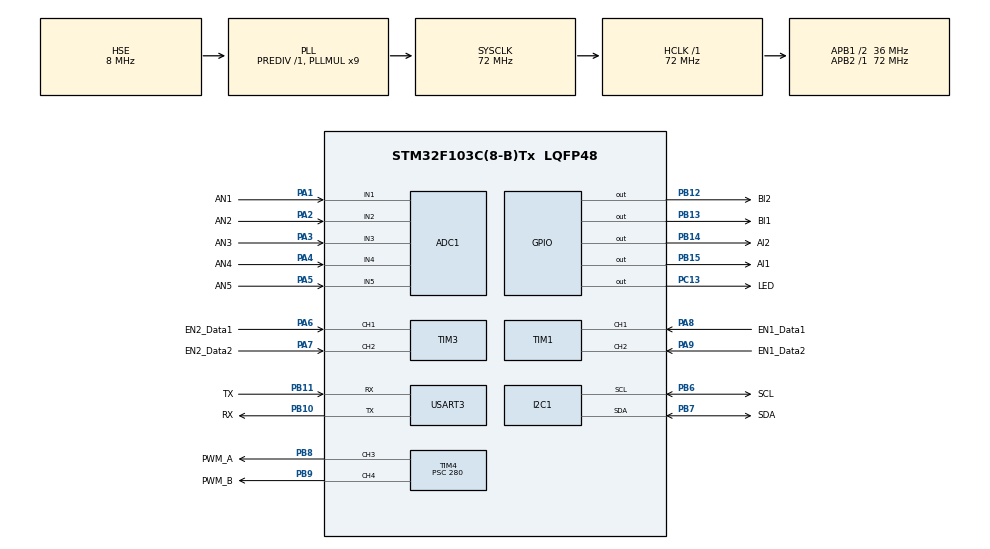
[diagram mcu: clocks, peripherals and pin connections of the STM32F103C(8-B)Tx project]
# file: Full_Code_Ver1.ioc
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ADC1.Channel-0\#ChannelRegularConversion=ADC_CHANNEL_1
ADC1.Channel-1\#ChannelRegularConversion=ADC_CHANNEL_2
ADC1.Channel-2\#ChannelRegularConversion=ADC_CHANNEL_3
ADC1.Channel-3\#ChannelRegularConversion=ADC_CHANNEL_4
ADC1.Channel-4\#ChannelRegularConversion=ADC_CHANNEL_5
ADC1.ContinuousConvMode=ENABLE
ADC1.NbrOfConversion=5
ADC1.NbrOfConversionFlag=1
ADC1.Rank-0\#ChannelRegularConversion=1
ADC1.Rank-1\#ChannelRegularConversion=2
ADC1.Rank-2\#ChannelRegularConversion=3
ADC1.Rank-3\#ChannelRegularConversion=4
ADC1.Rank-4\#ChannelRegularConversion=5
ADC1.SamplingTime-0\#ChannelRegularConversion=ADC_SAMPLETIME_13CYCLES_5
ADC1.SamplingTime-1\#ChannelRegularConversion=ADC_SAMPLETIME_13CYCLES_5
ADC1.SamplingTime-2\#ChannelRegularConversion=ADC_SAMPLETIME_13CYCLES_5
ADC1.SamplingTime-3\#ChannelRegularConversion=ADC_SAMPLETIME_13CYCLES_5
ADC1.SamplingTime-4\#ChannelRegularConversion=ADC_SAMPLETIME_13CYCLES_5
ADC1.master=1
Dma.ADC1.0.Direction=DMA_PERIPH_TO_MEMORY
Dma.ADC1.0.Instance=DMA1_Channel1
Dma.ADC1.0.MemDataAlignment=DMA_MDATAALIGN_HALFWORD
Dma.ADC1.0.MemInc=DMA_MINC_ENABLE
Dma.ADC1.0.Mode=DMA_CIRCULAR
Dma.ADC1.0.PeriphDataAlignment=DMA_PDATAALIGN_HALFWORD
Dma.ADC1.0.PeriphInc=DMA_PINC_DISABLE
Dma.ADC1.0.Priority=DMA_PRIORITY_LOW
Dma.Request0=ADC1
I2C1.I2C_Mode=I2C_Fast
Mcu.Family=STM32F1
Mcu.Name=STM32F103C(8-B)Tx
Mcu.Package=LQFP48
NVIC.DMA1_Channel1_IRQn=true\:0\:0\:false\:false\:true\:false\:true\:true
NVIC.PriorityGroup=NVIC_PRIORITYGROUP_4
NVIC.TIM2_IRQn=true\:0\:0\:false\:false\:true\:true\:true\:true
PA1.GPIO_Label=AN1
PA1.Signal=ADCx_IN1
PA13.Mode=Serial_Wire
PA13.Signal=SYS_JTMS-SWDIO
PA14.Mode=Serial_Wire
PA14.Signal=SYS_JTCK-SWCLK
PA2.GPIO_Label=AN2
PA2.Signal=ADCx_IN2
PA3.GPIO_Label=AN3
PA3.Signal=ADCx_IN3
PA4.GPIO_Label=AN4
PA4.Signal=ADCx_IN4
PA5.GPIO_Label=AN5
PA5.Signal=ADCx_IN5
PA6.GPIO_Label=EN2_Data1
PA6.Signal=S_TIM3_CH1
PA7.GPIO_Label=EN2_Data2
PA7.Signal=S_TIM3_CH2
PA8.GPIO_Label=EN1_Data1
PA8.Signal=S_TIM1_CH1
PA9.GPIO_Label=EN1_Data2
PA9.Signal=S_TIM1_CH2
PB10.GPIO_Label=RX
PB10.Mode=Asynchronous
PB10.Signal=USART3_TX
PB11.GPIO_Label=TX
PB11.Mode=Asynchronous
PB11.Signal=USART3_RX
PB12.GPIO_Label=BI2
PB12.Signal=GPIO_Output
PB13.GPIO_Label=BI1
PB13.Signal=GPIO_Output
PB14.GPIO_Label=AI2
PB14.Signal=GPIO_Output
PB15.GPIO_Label=AI1
PB15.Signal=GPIO_Output
PB6.GPIO_Label=SCL
PB6.Mode=I2C
PB6.Signal=I2C1_SCL
PB7.GPIO_Label=SDA
PB7.Mode=I2C
PB7.Signal=I2C1_SDA
PB8.GPIO_Label=PWM_A
PB8.Signal=S_TIM4_CH3
PB9.GPIO_Label=PWM_B
PB9.Signal=S_TIM4_CH4
PC13-TAMPER-RTC.GPIO_Label=LED
PC13-TAMPER-RTC.Signal=GPIO_Output
PD0-OSC_IN.Mode=HSE-External-Oscillator
PD0-OSC_IN.Signal=RCC_OSC_IN
PD1-OSC_OUT.Mode=HSE-External-Oscillator
PD1-OSC_OUT.Signal=RCC_OSC_OUT
ProjectManager.HeapSize=0x200
ProjectManager.StackSize=0x400
ProjectManager.TargetToolchain=STM32CubeIDE
RCC.ADCPresc=RCC_ADCPCLK2_DIV6
RCC.AHBFreq_Value=72000000
RCC.APB1CLKDivider=RCC_HCLK_DIV2
RCC.APB1Freq_Value=36000000
RCC.APB1TimFreq_Value=72000000
RCC.APB2Freq_Value=72000000
RCC.APB2TimFreq_Value=72000000
RCC.HCLKFreq_Value=72000000
RCC.PLLMUL=RCC_PLL_MUL9
RCC.PLLSourceVirtual=RCC_PLLSOURCE_HSE
RCC.SYSCLKFreq_VALUE=72000000
RCC.SYSCLKSource=RCC_SYSCLKSOURCE_PLLCLK
RCC.USBFreq_Value=72000000
SH.ADCx_IN1.0=ADC1_IN1,IN1
SH.ADCx_IN2.0=ADC1_IN2,IN2
SH.ADCx_IN3.0=ADC1_IN3,IN3
SH.ADCx_IN4.0=ADC1_IN4,IN4
SH.ADCx_IN5.0=ADC1_IN5,IN5
SH.S_TIM1_CH1.0=TIM1_CH1,Encoder_Interface
SH.S_TIM1_CH2.0=TIM1_CH2,Encoder_Interface
SH.S_TIM3_CH1.0=TIM3_CH1,Encoder_Interface
SH.S_TIM3_CH2.0=TIM3_CH2,Encoder_Interface
SH.S_TIM4_CH3.0=TIM4_CH3,PWM Generation3 CH3
SH.S_TIM4_CH4.0=TIM4_CH4,PWM Generation4 CH4
TIM1.EncoderMode=TIM_ENCODERMODE_TI12
TIM1.IC1Polarity=TIM_ICPOLARITY_FALLING
TIM1.IC2Polarity=TIM_ICPOLARITY_FALLING
TIM2.Period=99
TIM2.Prescaler=7199
TIM3.EncoderMode=TIM_ENCODERMODE_TI12
TIM3.IC1Polarity=TIM_ICPOLARITY_FALLING
TIM3.IC2Polarity=TIM_ICPOLARITY_FALLING
TIM4.Channel-PWM\ Generation3\ CH3=TIM_CHANNEL_3
TIM4.Channel-PWM\ Generation4\ CH4=TIM_CHANNEL_4
TIM4.Period=255
TIM4.Prescaler=280
USART3.VirtualMode=VM_ASYNC
VP_TIM2_VS_ClockSourceINT.Mode=Internal
board=custom

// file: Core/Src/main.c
/* USER CODE BEGIN Header */
/**
  ******************************************************************************
  * @file           : main.c
  * @brief          : Main program body
  ******************************************************************************
  * @attention
  *
  * Copyright (c) 2025 STMicroelectronics.
  * All rights reserved.
  *
  * This software is licensed under terms that can be found in the LICENSE file
  * in the root directory of this software component.
  * If no LICENSE file comes with this software, it is provided AS-IS.
  *
  ******************************************************************************
  */
/* USER CODE END Header */
#include "main.h"

/* USER CODE BEGIN Includes */
#include <stdlib.h>
#include <stdint.h>
#include <stdio.h>
#include <stdbool.h>
#include <math.h>

#include "params.h"
#include "color_sensor.h"
#include "get_e2_error.h"
#include "pid_line.h"
#include "pid_motor.h"
#include "others.h"

/* USER CODE END Includes */

/* USER CODE BEGIN PD */
#define T_SAMP 0.01f
#define PULSE_2_RPM (60.0f) / (11.0f * 30.0f * 4.0f * T_SAMP)
#define PI 3.1415926
/* USER CODE END PD */

ADC_HandleTypeDef hadc1;
DMA_HandleTypeDef hdma_adc1;

I2C_HandleTypeDef hi2c1;

TIM_HandleTypeDef htim1;
TIM_HandleTypeDef htim2;
TIM_HandleTypeDef htim3;
TIM_HandleTypeDef htim4;

UART_HandleTypeDef huart3;

/* USER CODE BEGIN PV */

// Define the buffer for storing ADC readout values
#define DATA_LENGTH 5
uint16_t data_buffer[DATA_LENGTH];
float A0 = 0, A1 = 0, A2 = 0, A3 = 0, A4 = 0;
float sumADCvalues = 0;

// Variables for estimating the Motors' speeds
int16_t position_motor_1 = 0, old_position_motor_1 = 0;
int pulse_motor_1 = 0;

int16_t position_motor_2 = 0, old_position_motor_2 = 0;
int pulse_motor_2 = 0;

// Variables for calculating Lyapunov-based tracking algorithm
volatile float prev_e1 = 0, curr_e1 = 0;
volatile float prev_e2 = 0, curr_e2 = 0;
volatile float prev_e3 = 0, curr_e3 = 0;
volatile float e2_buffer = 0;

volatile float prev_xM = 0, curr_xM = 0;
volatile float prev_yM = 0, curr_yM = 0;

volatile float prev_thetaM = PI, curr_thetaM = PI;

volatile float prev_xC = 0, curr_xC = 0;
volatile float prev_yC = 0, curr_yC = 0;
volatile float prev_thetaC = PI, curr_thetaC = PI;

volatile float prev_xR = 0, curr_xR = 0;
volatile float prev_yR = 0, curr_yR = 0;
volatile float prev_thetaR = PI, curr_thetaR = PI;

volatile float prev_vM = 0, prev_wM = 0;
volatile float vR = 0;
volatile float wR = 0;

volatile uint8_t time_ratio = 0;

// Variables for computing PI Speed Controller
volatile float w_right = 0, w_left = 0;
volatile float curr_w_right = 0, curr_w_left = 0;

volatile float e1R = 0, e0R = 0;
volatile float v1R = 0, v0R = 0;

volatile float e1L = 0, e0L = 0;
volatile float v1L = 0, v0L = 0;

volatile float delta_w = 0;
volatile float pre_Dpart = 0;

volatile int16_t u0R = 0, u1R = 0;
volatile int16_t u0L = 0, u1L = 0;

volatile uint8_t actR = 0, actL = 0;

// Test
volatile float minus_e2 = 0;
volatile uint16_t count = 0;
volatile uint16_t count_decelartion_1 = 0;
volatile uint16_t count_decelartion_2 = 0;

// Variables for encoder count
volatile float real_nr = 0, real_nl = 0;
volatile float real_wr = 0, real_wl = 0;
volatile float real_uM = 0;
volatile float distance = 0;
volatile float total_distance = 0;
float distance_calib = 0;
volatile float displacement = 0;
volatile float v_ref = 0.0f;

// Variables for auto find line when outline and not to endline
volatile bool recovery_mode = false;
volatile bool outline_right = false;
volatile bool outline_left = false;
volatile uint16_t count_outline_right = 0;
volatile uint16_t count_outline_left = 0;
volatile bool turn_right_phase1 = false;
volatile bool turn_right_phase2 = false;
volatile bool turn_left_phase1 = false;
volatile bool turn_left_phase2 = false;
volatile uint16_t count_turn_right_phase2 = 0;
volatile uint16_t count_turn_left_phase2 = 0;
//volatile uint16_t avoidance_count = 0;
//volatile uint16_t avoidance_count_phase_3 = 0;

/* USER CODE END PV */

void SystemClock_Config(void);
static void MX_GPIO_Init(void);
static void MX_DMA_Init(void);
static void MX_ADC1_Init(void);
static void MX_TIM1_Init(void);
static void MX_TIM3_Init(void);
static void MX_TIM4_Init(void);
static void MX_TIM2_Init(void);
static void MX_I2C1_Init(void);
static void MX_USART3_UART_Init(void);

/* USER CODE BEGIN 0 */

/*	DIRECTION OF MOTORS	*/
//void CCW_Motor_L(){
//	HAL_GPIO_WritePin(BI1_GPIO_Port, BI1_Pin, GPIO_PIN_SET);
//	HAL_GPIO_WritePin(BI2_GPIO_Port, BI2_Pin, GPIO_PIN_RESET);
//}
//void CW_Motor_R(){
//	HAL_GPIO_WritePin(AI1_GPIO_Port, AI1_Pin, GPIO_PIN_RESET);
//	HAL_GPIO_WritePin(AI2_GPIO_Port, AI2_Pin, GPIO_PIN_SET);
//}
//void CW_Motor_L(){
//	HAL_GPIO_WritePin(BI1_GPIO_Port, BI1_Pin, GPIO_PIN_RESET);
//	HAL_GPIO_WritePin(BI2_GPIO_Port, BI2_Pin, GPIO_PIN_SET);
//}
//void CCW_Motor_R(){
//	HAL_GPIO_WritePin(AI1_GPIO_Port, AI1_Pin, GPIO_PIN_SET);
//	HAL_GPIO_WritePin(AI2_GPIO_Port, AI2_Pin, GPIO_PIN_RESET);
//}
//void stop_Motor_L(){
//	HAL_GPIO_WritePin(BI1_GPIO_Port, BI1_Pin, GPIO_PIN_SET);
//	HAL_GPIO_WritePin(BI2_GPIO_Port, BI2_Pin, GPIO_PIN_SET);
//}
//void stop_Motor_R(){
//	HAL_GPIO_WritePin(AI1_GPIO_Port, AI1_Pin, GPIO_PIN_SET);
//	HAL_GPIO_WritePin(AI2_GPIO_Port, AI2_Pin, GPIO_PIN_SET);
//}

void HAL_TIM_PeriodElapsedCallback(TIM_HandleTypeDef *htim)
{
	if (htim->Instance == TIM2 && stop == false)
	{
		if (time_ratio == 5)
		{
			if (is_steering == false && recovery_mode == false)
			{
					/* Calculate error e2 */
				prev_e2 = curr_e2;
				curr_e2 = calculate_sensor_value_aftercalib(data_buffer);
				minus_e2 = curr_e2 - prev_e2;
				if (empty == false){
					displacement = total_distance - distance_calib;
				}

				if (displacement <= 2900 && (curr_e2 >= 17.0)){
					recovery_mode = true;
					outline_right = true;
					turn_right_phase1 = true;
				}

				if (displacement <= 2900 && (curr_e2 <= -17.0)){
					recovery_mode = true;
					outline_left = true;
					turn_left_phase1 = true;
				}

				if (displacement >= 250 && displacement <= 2250){
					calculate_PID_trackingline(V_REF_TURN, curr_e2, prev_e2, &delta_w, &pre_Dpart, &w_right, &w_left, &displacement);
				}
				else if (is_delivery_area == true && count_decelartion_1 != 13){
					v_ref = V_REF - count_decelartion_1 * 41.65f;
					calculate_PID_trackingline(v_ref, curr_e2, prev_e2, &delta_w, &pre_Dpart, &w_right, &w_left, &displacement);
					count_decelartion_1++;
				}
				else if (displacement >= 2730 && count_decelartion_2 != 21){
					v_ref = V_REF - count_decelartion_2 * (V_REF - 2.0) / 20.0f;
					calculate_PID_trackingline(v_ref, curr_e2, prev_e2, &delta_w, &pre_Dpart, &w_right, &w_left, &displacement);
					count_decelartion_2++;
				}
				else {
					calculate_PID_trackingline(V_REF, curr_e2, prev_e2, &delta_w, &pre_Dpart, &w_right, &w_left, &displacement);
				}

//					/* Calculate output of PID line following controller */
//				calculate_PID_trackingline(curr_e2, prev_e2, &delta_w, &pre_Dpart, &w_right, &w_left, &total_distance, &red_package, &blue_package);

			}
			e2_buffer = calculate_sensor_value_aftercalib(data_buffer);

					/* Check if robot get to turn and turn when count != 10 */
			if (is_steering == true && red_package == true && count != 10 && has_steered == false)
			{
				/* for V_REF = 0.5 m/s */
				w_right = (V_REF_TURN / (D_WHEEL / 2.0f)) + 2.0f;
				w_left = (V_REF_TURN / (D_WHEEL / 2.0f)) - 2.0f;
				/* for V_REF = 0.5 m/s */
//				w_right = 15.0f;
//				w_left = 6.5f;
				count++;
			}

			if (is_steering == true && blue_package == true && count != 10 && has_steered == false)
			{
				/* for V_REF = 0.5 m/s */
				w_right = (V_REF_TURN / (D_WHEEL / 2.0f)) - 2.0f;
				w_left = (V_REF_TURN / (D_WHEEL / 2.0f)) + 2.0f;
				/* for V_REF = 0.5 m/s */
//				w_right = 6.5f;
//				w_left = 15.0f;
				count++;
			}

			if (count == 10)
			{
				has_steered = true;
				is_steering = false;
			}

			time_ratio = 0;
		}
		if (recovery_mode == true){
			if (outline_right == true){
				if (data_buffer[1] > 2000 && turn_right_phase1 == true){
					turn_right_phase1 = false;
					turn_right_phase2 = true;
				}
				if (turn_right_phase1 == true) {
					w_right = (V_REF_TURN / (D_WHEEL / 2.0f)) + 3.5f;
					w_left = (V_REF_TURN / (D_WHEEL / 2.0f)) - 1.5f;
				}
				if (turn_right_phase2 == true){
					w_right = 0.0f;
					w_left = (V_REF_TURN / (D_WHEEL / 2.0f)) - 2.0f;
					count_turn_right_phase2++;
				}
				if (count_turn_right_phase2 >= 40 && (data_buffer[2] > 2800 && abs_float(e2_buffer) < 8.0)){
					recovery_mode = false;
					outline_right = false;
					outline = false;
					turn_right_phase1 = false;
					turn_right_phase2 = false;
					count_turn_right_phase2 = 0;
				}
			}
			if (outline_left == true){
				if (data_buffer[3] > 2000 && turn_left_phase1 == true){
					turn_left_phase1 = false;
					turn_left_phase2 = true;
				}
				if (turn_left_phase1 == true) {
					w_left = (V_REF_TURN / (D_WHEEL / 2.0f)) + 3.5f;
					w_right = (V_REF_TURN / (D_WHEEL / 2.0f)) - 1.5f;
				}
				if (turn_left_phase2 == true){
					w_left = 0.0f;
					w_right = (V_REF_TURN / (D_WHEEL / 2.0f)) - 2.0f;
					count_turn_left_phase2++;
				}
				if (count_turn_left_phase2 >= 40 && (data_buffer[2] > 2800 && abs_float(e2_buffer) < 8.0)){
					recovery_mode = false;
					outline_left = false;
					outline = false;
					turn_left_phase1 = false;
					turn_left_phase2 = false;
					count_turn_left_phase2 = 0;
				}
			}
		}
	}

		/////////////////////////////////////////////////////////
		/// Process the position values of 2 Motors' Encoders ///
		/////////////////////////////////////////////////////////

		position_motor_1 = 65535 - __HAL_TIM_GET_COUNTER(&htim1);
		pulse_motor_1 = (int16_t)(position_motor_1 - old_position_motor_1);
		old_position_motor_1 = position_motor_1;
		curr_w_right = pulse_motor_1 * PULSE_2_RPM * RPM_2_RADS;		// (rad/s)
			// Encoder count for right wheel
		real_nr = (float)(pulse_motor_1 * 60)/(330 * MOTOR_SAMP_TIME);
		real_wr = curr_w_right;

		position_motor_2 = __HAL_TIM_GET_COUNTER(&htim3);
		pulse_motor_2 = (int16_t)(position_motor_2 - old_position_motor_2);
		old_position_motor_2 = position_motor_2;
		curr_w_left = pulse_motor_2 * PULSE_2_RPM * RPM_2_RADS;		// (rad/s)
			// Encoder count for right wheel
		real_nl = (float)(pulse_motor_2 * 60)/(330 * MOTOR_SAMP_TIME);
		real_wl = curr_w_left;

			// Calculate total distance

		real_uM = (real_wr + real_wl) * (D_WHEEL / 4.0f);
		distance = real_uM * MOTOR_SAMP_TIME;
		total_distance += distance / (1.5f);

		////////////////////////////////////
		/// PID Calculation for 2 Motors ///
		////////////////////////////////////

		update_Motor_Error(&e1R, &e0R,
						   &e1L, &e0L,
						   &u0R, &u1R,
						   &u0L, &u1L,
						   w_right, w_left,
						   curr_w_right, curr_w_left,
						   &actR, &actL);

		////////////////////////
		/// Actuate 2 Motors ///
		////////////////////////

		__HAL_TIM_SET_COMPARE(&htim4, TIM_CHANNEL_3, (uint16_t)actR);
		if (u0R <= 0)
		{
			CCW_Motor_R();
		} else {
			CW_Motor_R();
		}

		__HAL_TIM_SET_COMPARE(&htim4, TIM_CHANNEL_4, (uint16_t)actL);
		if (u0L <= 0)
		{
			CW_Motor_L();
		} else {
			CCW_Motor_L();
		}
		time_ratio ++;
}

/* USER CODE END 0 */

int main(void)
{

  /* MCU Configuration--------------------------------------------------------*/

  /* Reset of all peripherals, Initializes the Flash interface and the Systick. */
  HAL_Init();

  /* Configure the system clock */
  SystemClock_Config();

  /* Initialize all configured peripherals */
  MX_GPIO_Init();
  MX_DMA_Init();
  MX_ADC1_Init();
  MX_TIM1_Init();
  MX_TIM3_Init();
  MX_TIM4_Init();
  MX_TIM2_Init();
  MX_I2C1_Init();
  MX_USART3_UART_Init();
  /* USER CODE BEGIN 2 */
  HAL_TIM_Base_Start_IT(&htim2);
  HAL_TIM_PWM_Start(&htim4, TIM_CHANNEL_3);
  HAL_TIM_PWM_Start(&htim4, TIM_CHANNEL_4);
  HAL_TIM_Encoder_Start(&htim1, TIM_CHANNEL_ALL);
  HAL_TIM_Encoder_Start(&htim3, TIM_CHANNEL_ALL);
  HAL_ADC_Start_DMA(&hadc1, (uint32_t*)data_buffer, DATA_LENGTH);
  /* USER CODE END 2 */

  /* Infinite loop */
  /* USER CODE BEGIN WHILE */
  while (1)
  {
	  check_to_turn(data_buffer, &displacement);
//	  stop_for_package(data_buffer, &w_right, &w_left);
	  stop_for_package_new(data_buffer, &v_ref, &w_right, &w_left);
	  stop_no_line(data_buffer, &w_right, &w_left);
	  if (has_stop_for_package == true){
		  distance_calib = total_distance;
		  detect_color();
	  }
	  restart(data_buffer);
	  if (recovery_mode == true && has_stop_for_package == false){
		  stop = false;
	  }
//	  detect_color();
    /* USER CODE END WHILE */

  }
}

void SystemClock_Config(void)
{
  RCC_OscInitTypeDef RCC_OscInitStruct = {0};
  RCC_ClkInitTypeDef RCC_ClkInitStruct = {0};
  RCC_PeriphCLKInitTypeDef PeriphClkInit = {0};

  /** Initializes the RCC Oscillators according to the specified parameters
  * in the RCC_OscInitTypeDef structure.
  */
  RCC_OscInitStruct.OscillatorType = RCC_OSCILLATORTYPE_HSE;
  RCC_OscInitStruct.HSEState = RCC_HSE_ON;
  RCC_OscInitStruct.HSEPredivValue = RCC_HSE_PREDIV_DIV1;
  RCC_OscInitStruct.HSIState = RCC_HSI_ON;
  RCC_OscInitStruct.PLL.PLLState = RCC_PLL_ON;
  RCC_OscInitStruct.PLL.PLLSource = RCC_PLLSOURCE_HSE;
  RCC_OscInitStruct.PLL.PLLMUL = RCC_PLL_MUL9;
  if (HAL_RCC_OscConfig(&RCC_OscInitStruct) != HAL_OK)
  {
    Error_Handler();
  }

  /** Initializes the CPU, AHB and APB buses clocks
  */
  RCC_ClkInitStruct.ClockType = RCC_CLOCKTYPE_HCLK|RCC_CLOCKTYPE_SYSCLK
                              |RCC_CLOCKTYPE_PCLK1|RCC_CLOCKTYPE_PCLK2;
  RCC_ClkInitStruct.SYSCLKSource = RCC_SYSCLKSOURCE_PLLCLK;
  RCC_ClkInitStruct.AHBCLKDivider = RCC_SYSCLK_DIV1;
  RCC_ClkInitStruct.APB1CLKDivider = RCC_HCLK_DIV2;
  RCC_ClkInitStruct.APB2CLKDivider = RCC_HCLK_DIV1;

  if (HAL_RCC_ClockConfig(&RCC_ClkInitStruct, FLASH_LATENCY_2) != HAL_OK)
  {
    Error_Handler();
  }
  PeriphClkInit.PeriphClockSelection = RCC_PERIPHCLK_ADC;
  PeriphClkInit.AdcClockSelection = RCC_ADCPCLK2_DIV6;
  if (HAL_RCCEx_PeriphCLKConfig(&PeriphClkInit) != HAL_OK)
  {
    Error_Handler();
  }
}

static void MX_ADC1_Init(void)
{

  ADC_ChannelConfTypeDef sConfig = {0};

  /** Common config
  */
  hadc1.Instance = ADC1;
  hadc1.Init.ScanConvMode = ADC_SCAN_ENABLE;
  hadc1.Init.ContinuousConvMode = ENABLE;
  hadc1.Init.DiscontinuousConvMode = DISABLE;
  hadc1.Init.ExternalTrigConv = ADC_SOFTWARE_START;
  hadc1.Init.DataAlign = ADC_DATAALIGN_RIGHT;
  hadc1.Init.NbrOfConversion = 5;
  if (HAL_ADC_Init(&hadc1) != HAL_OK)
  {
    Error_Handler();
  }

  /** Configure Regular Channel
  */
  sConfig.Channel = ADC_CHANNEL_1;
  sConfig.Rank = ADC_REGULAR_RANK_1;
  sConfig.SamplingTime = ADC_SAMPLETIME_13CYCLES_5;
  if (HAL_ADC_ConfigChannel(&hadc1, &sConfig) != HAL_OK)
  {
    Error_Handler();
  }

  /** Configure Regular Channel
  */
  sConfig.Channel = ADC_CHANNEL_2;
  sConfig.Rank = ADC_REGULAR_RANK_2;
  if (HAL_ADC_ConfigChannel(&hadc1, &sConfig) != HAL_OK)
  {
    Error_Handler();
  }

  /** Configure Regular Channel
  */
  sConfig.Channel = ADC_CHANNEL_3;
  sConfig.Rank = ADC_REGULAR_RANK_3;
  if (HAL_ADC_ConfigChannel(&hadc1, &sConfig) != HAL_OK)
  {
    Error_Handler();
  }

  /** Configure Regular Channel
  */
  sConfig.Channel = ADC_CHANNEL_4;
  sConfig.Rank = ADC_REGULAR_RANK_4;
  if (HAL_ADC_ConfigChannel(&hadc1, &sConfig) != HAL_OK)
  {
    Error_Handler();
  }

  /** Configure Regular Channel
  */
  sConfig.Channel = ADC_CHANNEL_5;
  sConfig.Rank = ADC_REGULAR_RANK_5;
  if (HAL_ADC_ConfigChannel(&hadc1, &sConfig) != HAL_OK)
  {
    Error_Handler();
  }

}

static void MX_I2C1_Init(void)
{

  hi2c1.Instance = I2C1;
  hi2c1.Init.ClockSpeed = 400000;
  hi2c1.Init.DutyCycle = I2C_DUTYCYCLE_2;
  hi2c1.Init.OwnAddress1 = 0;
  hi2c1.Init.AddressingMode = I2C_ADDRESSINGMODE_7BIT;
  hi2c1.Init.DualAddressMode = I2C_DUALADDRESS_DISABLE;
  hi2c1.Init.OwnAddress2 = 0;
  hi2c1.Init.GeneralCallMode = I2C_GENERALCALL_DISABLE;
  hi2c1.Init.NoStretchMode = I2C_NOSTRETCH_DISABLE;
  if (HAL_I2C_Init(&hi2c1) != HAL_OK)
  {
    Error_Handler();
  }

}

static void MX_TIM1_Init(void)
{

  TIM_Encoder_InitTypeDef sConfig = {0};
  TIM_MasterConfigTypeDef sMasterConfig = {0};

  htim1.Instance = TIM1;
  htim1.Init.Prescaler = 0;
  htim1.Init.CounterMode = TIM_COUNTERMODE_UP;
  htim1.Init.Period = 65535;
  htim1.Init.ClockDivision = TIM_CLOCKDIVISION_DIV1;
  htim1.Init.RepetitionCounter = 0;
  htim1.Init.AutoReloadPreload = TIM_AUTORELOAD_PRELOAD_DISABLE;
  sConfig.EncoderMode = TIM_ENCODERMODE_TI12;
  sConfig.IC1Polarity = TIM_ICPOLARITY_FALLING;
  sConfig.IC1Selection = TIM_ICSELECTION_DIRECTTI;
  sConfig.IC1Prescaler = TIM_ICPSC_DIV1;
  sConfig.IC1Filter = 0;
  sConfig.IC2Polarity = TIM_ICPOLARITY_FALLING;
  sConfig.IC2Selection = TIM_ICSELECTION_DIRECTTI;
  sConfig.IC2Prescaler = TIM_ICPSC_DIV1;
  sConfig.IC2Filter = 0;
  if (HAL_TIM_Encoder_Init(&htim1, &sConfig) != HAL_OK)
  {
    Error_Handler();
  }
  sMasterConfig.MasterOutputTrigger = TIM_TRGO_RESET;
  sMasterConfig.MasterSlaveMode = TIM_MASTERSLAVEMODE_DISABLE;
  if (HAL_TIMEx_MasterConfigSynchronization(&htim1, &sMasterConfig) != HAL_OK)
  {
    Error_Handler();
  }

}

static void MX_TIM2_Init(void)
{

  TIM_ClockConfigTypeDef sClockSourceConfig = {0};
  TIM_MasterConfigTypeDef sMasterConfig = {0};

  htim2.Instance = TIM2;
  htim2.Init.Prescaler = 7199;
  htim2.Init.CounterMode = TIM_COUNTERMODE_UP;
  htim2.Init.Period = 99;
  htim2.Init.ClockDivision = TIM_CLOCKDIVISION_DIV1;
  htim2.Init.AutoReloadPreload = TIM_AUTORELOAD_PRELOAD_DISABLE;
  if (HAL_TIM_Base_Init(&htim2) != HAL_OK)
  {
    Error_Handler();
  }
  sClockSourceConfig.ClockSource = TIM_CLOCKSOURCE_INTERNAL;
  if (HAL_TIM_ConfigClockSource(&htim2, &sClockSourceConfig) != HAL_OK)
  {
    Error_Handler();
  }
  sMasterConfig.MasterOutputTrigger = TIM_TRGO_RESET;
  sMasterConfig.MasterSlaveMode = TIM_MASTERSLAVEMODE_DISABLE;
  if (HAL_TIMEx_MasterConfigSynchronization(&htim2, &sMasterConfig) != HAL_OK)
  {
    Error_Handler();
  }

}

static void MX_TIM3_Init(void)
{

  TIM_Encoder_InitTypeDef sConfig = {0};
  TIM_MasterConfigTypeDef sMasterConfig = {0};

  htim3.Instance = TIM3;
  htim3.Init.Prescaler = 0;
  htim3.Init.CounterMode = TIM_COUNTERMODE_UP;
  htim3.Init.Period = 65535;
  htim3.Init.ClockDivision = TIM_CLOCKDIVISION_DIV1;
  htim3.Init.AutoReloadPreload = TIM_AUTORELOAD_PRELOAD_DISABLE;
  sConfig.EncoderMode = TIM_ENCODERMODE_TI12;
  sConfig.IC1Polarity = TIM_ICPOLARITY_FALLING;
  sConfig.IC1Selection = TIM_ICSELECTION_DIRECTTI;
  sConfig.IC1Prescaler = TIM_ICPSC_DIV1;
  sConfig.IC1Filter = 0;
  sConfig.IC2Polarity = TIM_ICPOLARITY_FALLING;
  sConfig.IC2Selection = TIM_ICSELECTION_DIRECTTI;
  sConfig.IC2Prescaler = TIM_ICPSC_DIV1;
  sConfig.IC2Filter = 0;
  if (HAL_TIM_Encoder_Init(&htim3, &sConfig) != HAL_OK)
  {
    Error_Handler();
  }
  sMasterConfig.MasterOutputTrigger = TIM_TRGO_RESET;
  sMasterConfig.MasterSlaveMode = TIM_MASTERSLAVEMODE_DISABLE;
  if (HAL_TIMEx_MasterConfigSynchronization(&htim3, &sMasterConfig) != HAL_OK)
  {
    Error_Handler();
  }

}

static void MX_TIM4_Init(void)
{

  TIM_MasterConfigTypeDef sMasterConfig = {0};
  TIM_OC_InitTypeDef sConfigOC = {0};

  htim4.Instance = TIM4;
  htim4.Init.Prescaler = 280;
  htim4.Init.CounterMode = TIM_COUNTERMODE_UP;
  htim4.Init.Period = 255;
  htim4.Init.ClockDivision = TIM_CLOCKDIVISION_DIV1;
  htim4.Init.AutoReloadPreload = TIM_AUTORELOAD_PRELOAD_DISABLE;
  if (HAL_TIM_PWM_Init(&htim4) != HAL_OK)
  {
    Error_Handler();
  }
  sMasterConfig.MasterOutputTrigger = TIM_TRGO_RESET;
  sMasterConfig.MasterSlaveMode = TIM_MASTERSLAVEMODE_DISABLE;
  if (HAL_TIMEx_MasterConfigSynchronization(&htim4, &sMasterConfig) != HAL_OK)
  {
    Error_Handler();
  }
  sConfigOC.OCMode = TIM_OCMODE_PWM1;
  sConfigOC.Pulse = 0;
  sConfigOC.OCPolarity = TIM_OCPOLARITY_HIGH;
  sConfigOC.OCFastMode = TIM_OCFAST_DISABLE;
  if (HAL_TIM_PWM_ConfigChannel(&htim4, &sConfigOC, TIM_CHANNEL_3) != HAL_OK)
  {
    Error_Handler();
  }
  if (HAL_TIM_PWM_ConfigChannel(&htim4, &sConfigOC, TIM_CHANNEL_4) != HAL_OK)
  {
    Error_Handler();
  }
  HAL_TIM_MspPostInit(&htim4);

}

static void MX_USART3_UART_Init(void)
{

  huart3.Instance = USART3;
  huart3.Init.BaudRate = 115200;
  huart3.Init.WordLength = UART_WORDLENGTH_8B;
  huart3.Init.StopBits = UART_STOPBITS_1;
  huart3.Init.Parity = UART_PARITY_NONE;
  huart3.Init.Mode = UART_MODE_TX_RX;
  huart3.Init.HwFlowCtl = UART_HWCONTROL_NONE;
  huart3.Init.OverSampling = UART_OVERSAMPLING_16;
  if (HAL_UART_Init(&huart3) != HAL_OK)
  {
    Error_Handler();
  }

}

static void MX_DMA_Init(void)
{

  /* DMA controller clock enable */
  __HAL_RCC_DMA1_CLK_ENABLE();

  /* DMA interrupt init */
  /* DMA1_Channel1_IRQn interrupt configuration */
  HAL_NVIC_SetPriority(DMA1_Channel1_IRQn, 0, 0);
  HAL_NVIC_EnableIRQ(DMA1_Channel1_IRQn);

}

static void MX_GPIO_Init(void)
{
  GPIO_InitTypeDef GPIO_InitStruct = {0};

  /* GPIO Ports Clock Enable */
  __HAL_RCC_GPIOC_CLK_ENABLE();
  __HAL_RCC_GPIOD_CLK_ENABLE();
  __HAL_RCC_GPIOA_CLK_ENABLE();
  __HAL_RCC_GPIOB_CLK_ENABLE();

  /*Configure GPIO pin Output Level */
  HAL_GPIO_WritePin(LED_GPIO_Port, LED_Pin, GPIO_PIN_RESET);

  /*Configure GPIO pin Output Level */
  HAL_GPIO_WritePin(GPIOB, BI2_Pin|BI1_Pin|AI2_Pin|AI1_Pin, GPIO_PIN_RESET);

  /*Configure GPIO pin : LED_Pin */
  GPIO_InitStruct.Pin = LED_Pin;
  GPIO_InitStruct.Mode = GPIO_MODE_OUTPUT_PP;
  GPIO_InitStruct.Pull = GPIO_NOPULL;
  GPIO_InitStruct.Speed = GPIO_SPEED_FREQ_LOW;
  HAL_GPIO_Init(LED_GPIO_Port, &GPIO_InitStruct);

  /*Configure GPIO pins : BI2_Pin BI1_Pin AI2_Pin AI1_Pin */
  GPIO_InitStruct.Pin = BI2_Pin|BI1_Pin|AI2_Pin|AI1_Pin;
  GPIO_InitStruct.Mode = GPIO_MODE_OUTPUT_PP;
  GPIO_InitStruct.Pull = GPIO_NOPULL;
  GPIO_InitStruct.Speed = GPIO_SPEED_FREQ_LOW;
  HAL_GPIO_Init(GPIOB, &GPIO_InitStruct);

}

void Error_Handler(void)
{
  __disable_irq();
  while (1)
  {
  }
}
